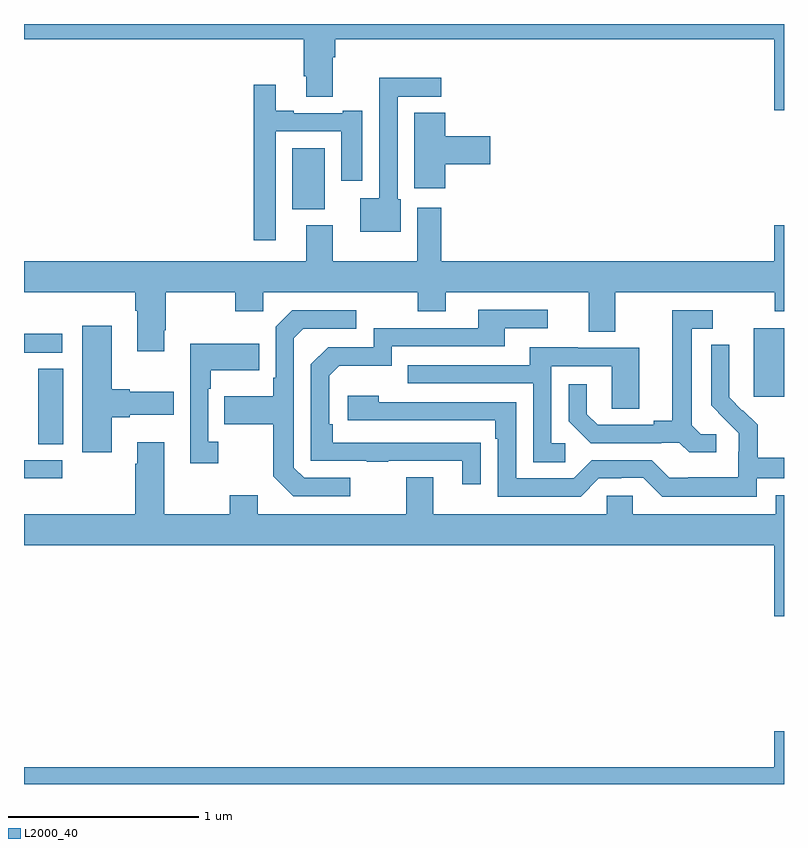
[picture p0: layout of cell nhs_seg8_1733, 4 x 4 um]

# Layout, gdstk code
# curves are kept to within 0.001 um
import gdstk
lib = gdstk.Library(unit=1e-6, precision=1e-09)
def R(c, l, rs):  # rectangles x0, y0, x1, y1
    for r in rs: c.add(gdstk.rectangle(r[:2], r[2:], *l))
def P(c, l, *ps):  # polygons
    for p in ps: c.add(gdstk.Polygon(p, *l))
L2000_40 = (2000, 40)

nhs_seg8_1733 = lib.new_cell('nhs_seg8_1733')
R(nhs_seg8_1733, L2000_40, [(221,1127.508,221.2,1127.604), (221.075,1127.689,221.206,1128.086), (224.84,1127.937,225,1128.298), (221,1128.171,221.2,1128.27), (222.413,1128.926,222.583,1129.246)])
P(nhs_seg8_1733, L2000_40, [(225,1129.9),(221,1129.9),(221,1129.82),(222.473,1129.82),(222.473,1129.624),(222.485,1129.624),(222.485,1129.516),(222.625,1129.516),(222.625,1129.724),(222.638,1129.724),(222.638,1129.82),(224.948,1129.82),(224.948,1129.446),(225,1129.446)],
  [(222.982,1128.978),(222.966,1128.978),(222.966,1129.518),(223.195,1129.518),(223.195,1129.616),(222.87,1129.616),(222.87,1128.982),(222.77,1128.982),(222.77,1128.806),(222.982,1128.806)],
  [(222.324,1129.335),(222.671,1129.335),(222.671,1129.074),(222.781,1129.074),(222.781,1129.444),(222.677,1129.444),(222.677,1129.431),(222.421,1129.431),(222.421,1129.444),(222.325,1129.444),(222.325,1129.579),(222.208,1129.579),(222.208,1128.762),(222.324,1128.762)],
  [(223.217,1129.163),(223.453,1129.163),(223.453,1129.31),(223.217,1129.31),(223.217,1129.433),(223.055,1129.433),(223.055,1129.035),(223.217,1129.035)],
  [(221.737,1128.289),(221.745,1128.289),(221.745,1128.488),(222.112,1128.488),(222.112,1128.389),(222.258,1128.389),(222.258,1128.488),(223.072,1128.488),(223.072,1128.389),(223.219,1128.389),(223.219,1128.488),(223.973,1128.488),(223.973,1128.28),(224.113,1128.28),(224.113,1128.488),(224.95,1128.488),(224.95,1128.389),(225,1128.389),(225,1128.841),(224.948,1128.841),(224.948,1128.652),(223.196,1128.652),(223.196,1128.934),(223.07,1128.934),(223.07,1128.652),(222.625,1128.652),(222.625,1128.841),(222.485,1128.841),(222.485,1128.652),(221,1128.652),(221,1128.488),(221.585,1128.488),(221.585,1128.392),(221.597,1128.392),(221.597,1128.177),(221.737,1128.177)],
  [(223.403,1127.696),(222.626,1127.697),(222.626,1127.794),(222.606,1127.794),(222.606,1128.048),(222.659,1128.101),(222.936,1128.101),(222.936,1128.204),(223.531,1128.204),(223.531,1128.3),(223.756,1128.3),(223.756,1128.396),(223.391,1128.396),(223.391,1128.3),(222.84,1128.3),(222.84,1128.198),(222.6,1128.198),(222.51,1128.108),(222.51,1127.601),(222.805,1127.601),(222.805,1127.596),(222.917,1127.596),(222.917,1127.601),(223.307,1127.601),(223.307,1127.478),(223.403,1127.478)],
  [(224.644,1127.742),(224.562,1127.742),(224.515,1127.789),(224.515,1128.297),(224.626,1128.297),(224.626,1128.393),(224.411,1128.393),(224.411,1127.813),(224.315,1127.813),(224.315,1127.79),(224.02,1127.79),(223.963,1127.847),(223.963,1128.004),(223.866,1128.004),(223.866,1127.81),(223.982,1127.694),(224.354,1127.694),(224.354,1127.697),(224.448,1127.697),(224.5,1127.645),(224.644,1127.645)],
  [(222.718,1127.511),(222.474,1127.511),(222.42,1127.565),(222.42,1128.246),(222.471,1128.297),(222.748,1128.297),(222.748,1128.393),(222.411,1128.393),(222.324,1128.306),(222.324,1128.037),(222.312,1128.037),(222.312,1127.941),(222.055,1127.941),(222.055,1127.794),(222.312,1127.794),(222.312,1127.521),(222.417,1127.415),(222.718,1127.415)],
  [(221.461,1127.831),(221.557,1127.831),(221.557,1127.843),(221.788,1127.843),(221.788,1127.965),(221.557,1127.965),(221.557,1127.978),(221.461,1127.978),(221.461,1128.313),(221.306,1128.313),(221.306,1127.646),(221.461,1127.646)],
  [(222.022,1127.702),(221.97,1127.702),(221.97,1127.981),(221.983,1127.981),(221.983,1128.077),(222.239,1128.077),(222.239,1128.217),(221.874,1128.217),(221.874,1127.589),(222.022,1127.589)],
  [(224.856,1127.508),(225,1127.508),(225,1127.617),(224.861,1127.617),(224.861,1127.791),(224.784,1127.868),(224.781,1127.865),(224.711,1127.936),(224.712,1128.212),(224.616,1128.212),(224.616,1127.894),(224.762,1127.746),(224.762,1127.649),(224.76,1127.649),(224.76,1127.515),(224.497,1127.515),(224.497,1127.511),(224.397,1127.511),(224.304,1127.604),(223.989,1127.604),(223.893,1127.508),(223.59,1127.508),(223.59,1127.91),(222.866,1127.91),(222.866,1127.944),(222.705,1127.944),(222.705,1127.814),(223.481,1127.814),(223.481,1127.717),(223.494,1127.717),(223.494,1127.412),(223.929,1127.412),(224.025,1127.508),(224.144,1127.508),(224.144,1127.511),(224.259,1127.511),(224.359,1127.411),(224.856,1127.411)],
  [(223.849,1127.694),(223.776,1127.694),(223.776,1128.099),(224.094,1128.099),(224.094,1127.875),(224.239,1127.875),(224.239,1128.195),(223.915,1128.195),(223.915,1128.199),(223.661,1128.199),(223.661,1128.105),(223.021,1128.105),(223.021,1128.009),(223.68,1128.009),(223.68,1127.593),(223.849,1127.593)],
  [(225,1127.419),(224.957,1127.419),(224.957,1127.32),(224.205,1127.32),(224.205,1127.418),(224.067,1127.418),(224.067,1127.32),(223.153,1127.32),(223.153,1127.515),(223.013,1127.515),(223.013,1127.32),(222.229,1127.32),(222.229,1127.419),(222.082,1127.419),(222.082,1127.32),(221.737,1127.32),(221.737,1127.698),(221.597,1127.698),(221.597,1127.585),(221.585,1127.585),(221.585,1127.32),(221,1127.32),(221,1127.156),(224.948,1127.156),(224.948,1126.782),(225,1126.782)],
  [(225,1126.177),(224.948,1126.177),(224.948,1125.988),(221,1125.988),(221,1125.9),(225,1125.9)])

lib.write_gds('nhs_seg8_1733.gds')
